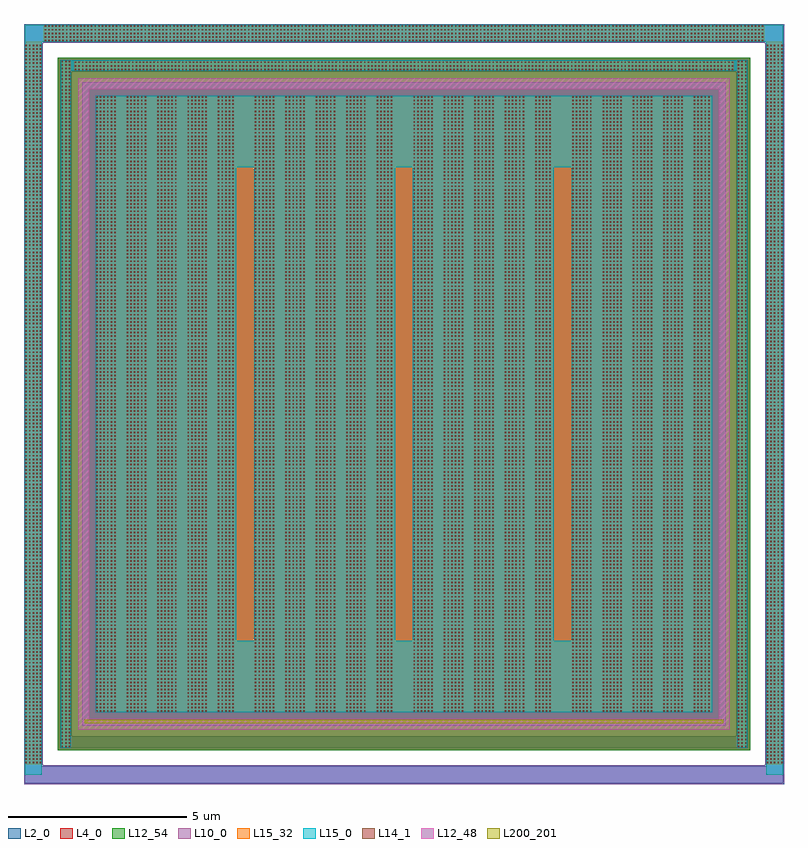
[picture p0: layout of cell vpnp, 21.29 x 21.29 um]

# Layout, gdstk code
import gdstk
lib = gdstk.Library(unit=1e-6, precision=1e-09)
def R(c, l, rs):  # rectangles x0, y0, x1, y1
    for r in rs: c.add(gdstk.rectangle(r[:2], r[2:], *l))
def A(c, l, x, y, w, h, nx, ny, dx, dy):  # array of equal rectangles
    R(c, l, [(x+i*dx, y+j*dy, x+i*dx+w, y+j*dy+h) for i in range(nx) for j in range(ny)])
L2_0 = (2, 0)
L4_0 = (4, 0)
L10_0 = (10, 0)
L12_48 = (12, 48)
L12_54 = (12, 54)
L14_1 = (14, 1)
L15_0 = (15, 0)
L15_32 = (15, 32)
L200_201 = (200, 201)

vpnp = lib.new_cell('vpnp')
R(vpnp, L2_0, [(-17.129,-9.159,4.123,-8.679), (-17.129,-8.679,-16.649,11.613), (3.643,-8.679,4.123,11.613), (-16.149,-8.179,3.143,-7.839), (-16.149,-7.839,-15.809,10.773), (2.803,-7.839,3.143,10.773), (-15.453,-7.483,2.447,10.417), (-16.149,10.773,3.143,11.113), (-17.129,11.613,4.123,12.093)])
R(vpnp, L4_0, [(-16.205,-8.235,3.199,11.169)])
R(vpnp, L10_0, [(-17.15,-9.18,4.144,-8.658), (-17.15,-8.658,-16.628,11.592), (3.622,-8.658,4.144,11.592), (-15.523,-7.553,2.517,10.487), (-17.15,11.592,4.144,12.114)])
R(vpnp, L12_48, [(-15.634,-7.664,2.628,-7.358), (-15.634,-7.358,-15.328,10.292), (2.322,-7.358,2.628,10.292), (-15.634,10.292,2.628,10.598)])
R(vpnp, L12_54, [(-16.205,-8.235,3.199,11.169)])
A(vpnp, L14_1, -17.109, -8.603, 0.04, 0.04, 5, 202, 0.1, 0.1)
A(vpnp, L14_1, 3.663, -8.603, 0.04, 0.04, 5, 202, 0.1, 0.1)
A(vpnp, L14_1, -16.099, -8.153, 0.04, 0.04, 3, 193, 0.1, 0.1)
A(vpnp, L14_1, 2.853, -8.153, 0.04, 0.04, 3, 193, 0.1, 0.1)
A(vpnp, L14_1, -15.123, -7.153, 0.04, 0.04, 6, 173, 0.1, 0.1)
A(vpnp, L14_1, -14.271, -7.153, 0.04, 0.04, 6, 173, 0.1, 0.1)
A(vpnp, L14_1, -13.419, -7.153, 0.04, 0.04, 6, 173, 0.1, 0.1)
A(vpnp, L14_1, -12.567, -7.153, 0.04, 0.04, 6, 173, 0.1, 0.1)
A(vpnp, L14_1, -11.715, -7.153, 0.04, 0.04, 5, 173, 0.1, 0.1)
A(vpnp, L14_1, -10.679, -7.153, 0.04, 0.04, 6, 173, 0.1, 0.1)
A(vpnp, L14_1, -9.827, -7.153, 0.04, 0.04, 6, 173, 0.1, 0.1)
A(vpnp, L14_1, -8.975, -7.153, 0.04, 0.04, 6, 173, 0.1, 0.1)
A(vpnp, L14_1, -8.123, -7.153, 0.04, 0.04, 6, 173, 0.1, 0.1)
A(vpnp, L14_1, -7.271, -7.153, 0.04, 0.04, 5, 173, 0.1, 0.1)
A(vpnp, L14_1, -6.235, -7.153, 0.04, 0.04, 6, 173, 0.1, 0.1)
A(vpnp, L14_1, -5.383, -7.153, 0.04, 0.04, 6, 173, 0.1, 0.1)
A(vpnp, L14_1, -4.531, -7.153, 0.04, 0.04, 6, 173, 0.1, 0.1)
A(vpnp, L14_1, -3.679, -7.153, 0.04, 0.04, 6, 173, 0.1, 0.1)
A(vpnp, L14_1, -2.827, -7.153, 0.04, 0.04, 5, 173, 0.1, 0.1)
A(vpnp, L14_1, -1.791, -7.153, 0.04, 0.04, 6, 173, 0.1, 0.1)
A(vpnp, L14_1, -0.939, -7.153, 0.04, 0.04, 6, 173, 0.1, 0.1)
A(vpnp, L14_1, -0.087, -7.153, 0.04, 0.04, 6, 173, 0.1, 0.1)
A(vpnp, L14_1, 0.765, -7.153, 0.04, 0.04, 6, 173, 0.1, 0.1)
A(vpnp, L14_1, 1.617, -7.153, 0.04, 0.04, 5, 173, 0.1, 0.1)
A(vpnp, L14_1, -15.723, 10.823, 0.04, 0.04, 185, 3, 0.1, 0.1)
A(vpnp, L14_1, -16.573, 11.633, 0.04, 0.04, 202, 5, 0.1, 0.1)
A(vpnp, L15_0, -15.141, -5.171, 3.944, 13.276, 4, 1, 4.444, 0)
R(vpnp, L15_0, [(-17.127,-8.919,-16.651,12.091), (3.645,-8.919,4.121,12.091), (-16.117,-8.171,-15.841,11.105), (2.835,-8.171,3.111,11.105), (-15.141,-7.171,2.135,-5.171), (-15.141,8.105,2.135,10.105), (-15.841,10.805,2.835,11.105), (-16.651,11.615,3.645,12.091)])
R(vpnp, L15_32, [(-17.127,-8.621,-16.651,11.615), (3.645,-8.621,4.121,11.615), (-16.117,-8.171,-15.841,11.105), (2.835,-8.171,3.111,11.105), (-15.141,-7.171,2.135,10.105), (-15.741,10.805,2.735,11.081), (-16.591,11.615,3.585,12.091)])
R(vpnp, L200_201, [(-15.453,-7.483,2.447,-7.383)])

lib.write_gds('vpnp.gds')
